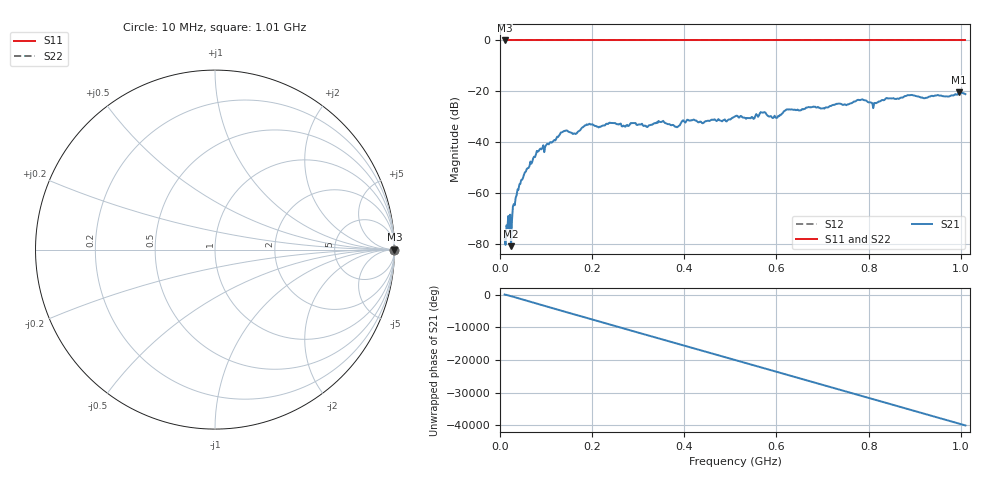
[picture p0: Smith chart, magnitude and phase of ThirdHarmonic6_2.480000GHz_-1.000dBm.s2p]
! 8/17/2025 4:37:27 AM
! C:\ANRITSUVNA\TEMP\TEMP.S2P
! CHANNEL.1
! TR.MEASUREMENT
! RAW.DATA
! RF.CORRECTION.OFF
! AVERAGING.OFF
! IF.BANDWIDTH: 5KHZ
! SWEEPTYPE:  FREQ.SWEEP(Linear)
! Reference Plane Port Info
! PORT:  PORT1  PORT2
! DISTANCE:  0  m  0  m
! TIME:  0  s  0  s
! PHASE.OFFSET:  0  deg.  0  deg.
! LOSS:  0  dB  0  dB
! REF.LOSS:  0  dB  0  dB
! REF.FREQ:  0  Hz  0  Hz
! Power Info
! POWER:  -20  dBm  -20  dBm
! EFF.POWER:  -20  dBm  -20  dBm
! SOURCE.ATTEN:  0  dB  0  dB
! TEST.ATTEN:  0  dB  0  dB
# GHZ S RI R 50.0
! FREQ.GHZ  S11RE  S11IM  S21RE  S21IM  S12RE  S12IM  S22RE  S22IM
!; PortSelection: Port_12
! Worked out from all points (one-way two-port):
!   501 points, 10 MHz to 1.01 GHz, reference 50 ohm
!   highest |S21| = -20.34 dB at 996 MHz (marker M1); lowest = -80.7 dB at 24 MHz (marker M2)
!   lowest |S11| = 0.0 dB at 10 MHz (marker M3)
!   |S11| at or under -10 dB: nowhere
!   |S22| runs from 0.0 to 0.0 dB; largest |S21 - S12| = 1.1
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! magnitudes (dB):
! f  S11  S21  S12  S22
! 10 MHz  0.0  -77.7  0.0  0.0
! 18 MHz  0.0  -68.8  0.0  0.0
! 24 MHz  0.0  -80.7  0.0  0.0
! 32 MHz  0.0  -64.6  0.0  0.0
! 42 MHz  0.0  -56.4  0.0  0.0
! 82 MHz  0.0  -43.6  0.0  0.0
! 136 MHz  0.0  -35.9  0.0  0.0
! 162 MHz  0.0  -36.5  0.0  0.0
! 178 MHz  0.0  -34.2  0.0  0.0
! 344 MHz  0.0  -31.6  0.0  0.0
! 384 MHz  0.0  -34.0  0.0  0.0
! 410 MHz  0.0  -31.4  0.0  0.0
! 510 MHz  0.0  -29.8  0.0  0.0
! 570 MHz  0.0  -28.3  0.0  0.0
! 598 MHz  0.0  -30.2  0.0  0.0
! 624 MHz  0.0  -27.0  0.0  0.0
! 678 MHz  0.0  -26.1  0.0  0.0
! 782 MHz  0.0  -23.4  0.0  0.0
! 812 MHz  0.0  -24.6  0.0  0.0
! 844 MHz  0.0  -22.7  0.0  0.0
! 996 MHz  0.0  -20.3  0.0  0.0
! 1.01 GHz  0.0  -21.1  0.0  0.0
